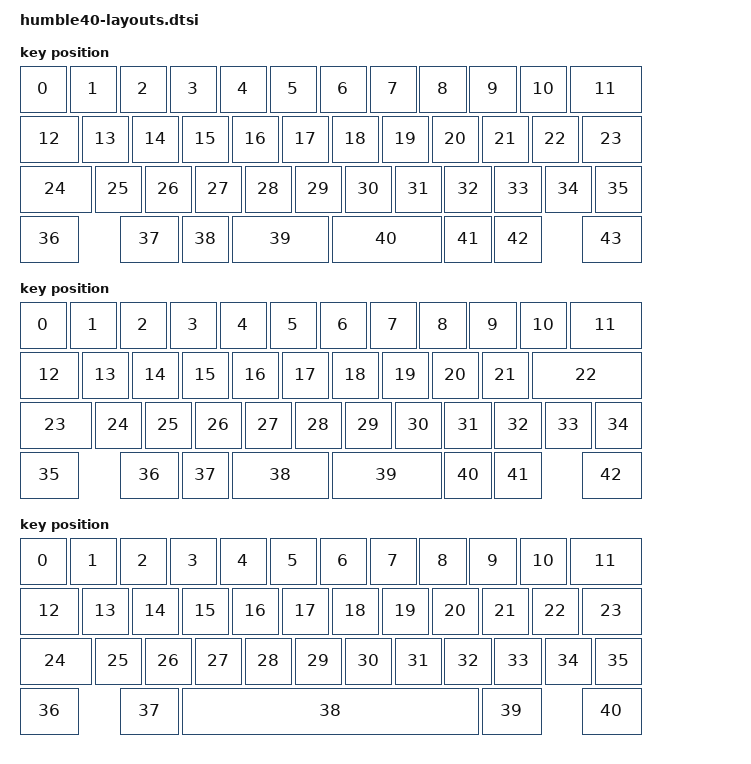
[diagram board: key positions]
/*
 * Copyright (c) 2024 The ZMK Contributors
 *
 * SPDX-License-Identifier: MIT
 */

#include <physical_layouts.dtsi>

/ {

    uniform_layout: uniform_layout {
        compatible = "zmk,physical-layout";
        display-name = "Uniform";

        transform = <&uniform_transform>;

        keys  //                     w   h    x    y     rot    rx    ry
            = <&key_physical_attrs 100 100    0    0       0     0     0>
            , <&key_physical_attrs 100 100  100    0       0     0     0>
            , <&key_physical_attrs 100 100  200    0       0     0     0>
            , <&key_physical_attrs 100 100  300    0       0     0     0>
            , <&key_physical_attrs 100 100  400    0       0     0     0>
            , <&key_physical_attrs 100 100  500    0       0     0     0>
            , <&key_physical_attrs 100 100  600    0       0     0     0>
            , <&key_physical_attrs 100 100  700    0       0     0     0>
            , <&key_physical_attrs 100 100  800    0       0     0     0>
            , <&key_physical_attrs 100 100  900    0       0     0     0>
            , <&key_physical_attrs 100 100 1000    0       0     0     0>
            , <&key_physical_attrs 150 100 1100    0       0     0     0>
            , <&key_physical_attrs 125 100    0  100       0     0     0>
            , <&key_physical_attrs 100 100  125  100       0     0     0>
            , <&key_physical_attrs 100 100  225  100       0     0     0>
            , <&key_physical_attrs 100 100  325  100       0     0     0>
            , <&key_physical_attrs 100 100  425  100       0     0     0>
            , <&key_physical_attrs 100 100  525  100       0     0     0>
            , <&key_physical_attrs 100 100  625  100       0     0     0>
            , <&key_physical_attrs 100 100  725  100       0     0     0>
            , <&key_physical_attrs 100 100  825  100       0     0     0>
            , <&key_physical_attrs 100 100  925  100       0     0     0>
            , <&key_physical_attrs 100 100 1025  100       0     0     0>
            , <&key_physical_attrs 125 100 1125  100       0     0     0>
            , <&key_physical_attrs 150 100    0  200       0     0     0>
            , <&key_physical_attrs 100 100  150  200       0     0     0>
            , <&key_physical_attrs 100 100  250  200       0     0     0>
            , <&key_physical_attrs 100 100  350  200       0     0     0>
            , <&key_physical_attrs 100 100  450  200       0     0     0>
            , <&key_physical_attrs 100 100  550  200       0     0     0>
            , <&key_physical_attrs 100 100  650  200       0     0     0>
            , <&key_physical_attrs 100 100  750  200       0     0     0>
            , <&key_physical_attrs 100 100  850  200       0     0     0>
            , <&key_physical_attrs 100 100  950  200       0     0     0>
            , <&key_physical_attrs 100 100 1050  200       0     0     0>
            , <&key_physical_attrs 100 100 1150  200       0     0     0>
            , <&key_physical_attrs 125 100    0  300       0     0     0>
            , <&key_physical_attrs 125 100  200  300       0     0     0>
            , <&key_physical_attrs 100 100  325  300       0     0     0>
            , <&key_physical_attrs 200 100  425  300       0     0     0>
            , <&key_physical_attrs 225 100  625  300       0     0     0>
            , <&key_physical_attrs 100 100  850  300       0     0     0>
            , <&key_physical_attrs 100 100  950  300       0     0     0>
            , <&key_physical_attrs 125 100 1125  300       0     0     0>
            ;
    };

    big_enter_layout: big_enter_layout {
        compatible = "zmk,physical-layout";
        display-name = "Uniform - Big Enter";

        transform = <&big_enter_transform>;

        keys  //                     w   h    x    y     rot    rx    ry
            = <&key_physical_attrs 100 100    0    0       0     0     0>
            , <&key_physical_attrs 100 100  100    0       0     0     0>
            , <&key_physical_attrs 100 100  200    0       0     0     0>
            , <&key_physical_attrs 100 100  300    0       0     0     0>
            , <&key_physical_attrs 100 100  400    0       0     0     0>
            , <&key_physical_attrs 100 100  500    0       0     0     0>
            , <&key_physical_attrs 100 100  600    0       0     0     0>
            , <&key_physical_attrs 100 100  700    0       0     0     0>
            , <&key_physical_attrs 100 100  800    0       0     0     0>
            , <&key_physical_attrs 100 100  900    0       0     0     0>
            , <&key_physical_attrs 100 100 1000    0       0     0     0>
            , <&key_physical_attrs 150 100 1100    0       0     0     0>
            , <&key_physical_attrs 125 100    0  100       0     0     0>
            , <&key_physical_attrs 100 100  125  100       0     0     0>
            , <&key_physical_attrs 100 100  225  100       0     0     0>
            , <&key_physical_attrs 100 100  325  100       0     0     0>
            , <&key_physical_attrs 100 100  425  100       0     0     0>
            , <&key_physical_attrs 100 100  525  100       0     0     0>
            , <&key_physical_attrs 100 100  625  100       0     0     0>
            , <&key_physical_attrs 100 100  725  100       0     0     0>
            , <&key_physical_attrs 100 100  825  100       0     0     0>
            , <&key_physical_attrs 100 100  925  100       0     0     0>
            , <&key_physical_attrs 225 100 1025  100       0     0     0>
            , <&key_physical_attrs 150 100    0  200       0     0     0>
            , <&key_physical_attrs 100 100  150  200       0     0     0>
            , <&key_physical_attrs 100 100  250  200       0     0     0>
            , <&key_physical_attrs 100 100  350  200       0     0     0>
            , <&key_physical_attrs 100 100  450  200       0     0     0>
            , <&key_physical_attrs 100 100  550  200       0     0     0>
            , <&key_physical_attrs 100 100  650  200       0     0     0>
            , <&key_physical_attrs 100 100  750  200       0     0     0>
            , <&key_physical_attrs 100 100  850  200       0     0     0>
            , <&key_physical_attrs 100 100  950  200       0     0     0>
            , <&key_physical_attrs 100 100 1050  200       0     0     0>
            , <&key_physical_attrs 100 100 1150  200       0     0     0>
            , <&key_physical_attrs 125 100    0  300       0     0     0>
            , <&key_physical_attrs 125 100  200  300       0     0     0>
            , <&key_physical_attrs 100 100  325  300       0     0     0>
            , <&key_physical_attrs 200 100  425  300       0     0     0>
            , <&key_physical_attrs 225 100  625  300       0     0     0>
            , <&key_physical_attrs 100 100  850  300       0     0     0>
            , <&key_physical_attrs 100 100  950  300       0     0     0>
            , <&key_physical_attrs 125 100 1125  300       0     0     0>
            ;
    };

    big_bar_layout: big_bar_layout {
        compatible = "zmk,physical-layout";
        display-name = "Uniform - Big Bar";

        transform = <&big_bar_transform>;

        keys  //                     w   h    x    y     rot    rx    ry
            = <&key_physical_attrs 100 100    0    0       0     0     0>
            , <&key_physical_attrs 100 100  100    0       0     0     0>
            , <&key_physical_attrs 100 100  200    0       0     0     0>
            , <&key_physical_attrs 100 100  300    0       0     0     0>
            , <&key_physical_attrs 100 100  400    0       0     0     0>
            , <&key_physical_attrs 100 100  500    0       0     0     0>
            , <&key_physical_attrs 100 100  600    0       0     0     0>
            , <&key_physical_attrs 100 100  700    0       0     0     0>
            , <&key_physical_attrs 100 100  800    0       0     0     0>
            , <&key_physical_attrs 100 100  900    0       0     0     0>
            , <&key_physical_attrs 100 100 1000    0       0     0     0>
            , <&key_physical_attrs 150 100 1100    0       0     0     0>
            , <&key_physical_attrs 125 100    0  100       0     0     0>
            , <&key_physical_attrs 100 100  125  100       0     0     0>
            , <&key_physical_attrs 100 100  225  100       0     0     0>
            , <&key_physical_attrs 100 100  325  100       0     0     0>
            , <&key_physical_attrs 100 100  425  100       0     0     0>
            , <&key_physical_attrs 100 100  525  100       0     0     0>
            , <&key_physical_attrs 100 100  625  100       0     0     0>
            , <&key_physical_attrs 100 100  725  100       0     0     0>
            , <&key_physical_attrs 100 100  825  100       0     0     0>
            , <&key_physical_attrs 100 100  925  100       0     0     0>
            , <&key_physical_attrs 100 100 1025  100       0     0     0>
            , <&key_physical_attrs 125 100 1125  100       0     0     0>
            , <&key_physical_attrs 150 100    0  200       0     0     0>
            , <&key_physical_attrs 100 100  150  200       0     0     0>
            , <&key_physical_attrs 100 100  250  200       0     0     0>
            , <&key_physical_attrs 100 100  350  200       0     0     0>
            , <&key_physical_attrs 100 100  450  200       0     0     0>
            , <&key_physical_attrs 100 100  550  200       0     0     0>
            , <&key_physical_attrs 100 100  650  200       0     0     0>
            , <&key_physical_attrs 100 100  750  200       0     0     0>
            , <&key_physical_attrs 100 100  850  200       0     0     0>
            , <&key_physical_attrs 100 100  950  200       0     0     0>
            , <&key_physical_attrs 100 100 1050  200       0     0     0>
            , <&key_physical_attrs 100 100 1150  200       0     0     0>
            , <&key_physical_attrs 125 100    0  300       0     0     0>
            , <&key_physical_attrs 125 100  200  300       0     0     0>
            , <&key_physical_attrs 600 100  325  300       0     0     0>
            , <&key_physical_attrs 125 100  925  300       0     0     0>
            , <&key_physical_attrs 125 100 1125  300       0     0     0>
            ;
    };

    big_enter_big_bar_layout: big_enter_big_bar_layout {
        compatible = "zmk,physical-layout";
        display-name = "Uniform - Big Enter / Big Bar";

        transform = <&big_enter_big_bar_transform>;

        keys  //                     w   h    x    y     rot    rx    ry
            = <&key_physical_attrs 100 100    0    0       0     0     0>
            , <&key_physical_attrs 100 100  100    0       0     0     0>
            , <&key_physical_attrs 100 100  200    0       0     0     0>
            , <&key_physical_attrs 100 100  300    0       0     0     0>
            , <&key_physical_attrs 100 100  400    0       0     0     0>
            , <&key_physical_attrs 100 100  500    0       0     0     0>
            , <&key_physical_attrs 100 100  600    0       0     0     0>
            , <&key_physical_attrs 100 100  700    0       0     0     0>
            , <&key_physical_attrs 100 100  800    0       0     0     0>
            , <&key_physical_attrs 100 100  900    0       0     0     0>
            , <&key_physical_attrs 100 100 1000    0       0     0     0>
            , <&key_physical_attrs 150 100 1100    0       0     0     0>
            , <&key_physical_attrs 125 100    0  100       0     0     0>
            , <&key_physical_attrs 100 100  125  100       0     0     0>
            , <&key_physical_attrs 100 100  225  100       0     0     0>
            , <&key_physical_attrs 100 100  325  100       0     0     0>
            , <&key_physical_attrs 100 100  425  100       0     0     0>
            , <&key_physical_attrs 100 100  525  100       0     0     0>
            , <&key_physical_attrs 100 100  625  100       0     0     0>
            , <&key_physical_attrs 100 100  725  100       0     0     0>
            , <&key_physical_attrs 100 100  825  100       0     0     0>
            , <&key_physical_attrs 100 100  925  100       0     0     0>
            , <&key_physical_attrs 225 100 1025  100       0     0     0>
            , <&key_physical_attrs 150 100    0  200       0     0     0>
            , <&key_physical_attrs 100 100  150  200       0     0     0>
            , <&key_physical_attrs 100 100  250  200       0     0     0>
            , <&key_physical_attrs 100 100  350  200       0     0     0>
            , <&key_physical_attrs 100 100  450  200       0     0     0>
            , <&key_physical_attrs 100 100  550  200       0     0     0>
            , <&key_physical_attrs 100 100  650  200       0     0     0>
            , <&key_physical_attrs 100 100  750  200       0     0     0>
            , <&key_physical_attrs 100 100  850  200       0     0     0>
            , <&key_physical_attrs 100 100  950  200       0     0     0>
            , <&key_physical_attrs 100 100 1050  200       0     0     0>
            , <&key_physical_attrs 100 100 1150  200       0     0     0>
            , <&key_physical_attrs 125 100    0  300       0     0     0>
            , <&key_physical_attrs 125 100  200  300       0     0     0>
            , <&key_physical_attrs 600 100  325  300       0     0     0>
            , <&key_physical_attrs 125 100  925  300       0     0     0>
            , <&key_physical_attrs 125 100 1125  300       0     0     0>
            ;
    };

    std_layout: std_layout {
        compatible = "zmk,physical-layout";
        display-name = "Standard";

        transform = <&std_transform>;

        keys  //                     w   h    x    y     rot    rx    ry
            = <&key_physical_attrs 100 100    0    0       0     0     0>
            , <&key_physical_attrs 100 100  100    0       0     0     0>
            , <&key_physical_attrs 100 100  200    0       0     0     0>
            , <&key_physical_attrs 100 100  300    0       0     0     0>
            , <&key_physical_attrs 100 100  400    0       0     0     0>
            , <&key_physical_attrs 100 100  500    0       0     0     0>
            , <&key_physical_attrs 100 100  600    0       0     0     0>
            , <&key_physical_attrs 100 100  700    0       0     0     0>
            , <&key_physical_attrs 100 100  800    0       0     0     0>
            , <&key_physical_attrs 100 100  900    0       0     0     0>
            , <&key_physical_attrs 100 100 1000    0       0     0     0>
            , <&key_physical_attrs 150 100 1100    0       0     0     0>
            , <&key_physical_attrs 125 100    0  100       0     0     0>
            , <&key_physical_attrs 100 100  125  100       0     0     0>
            , <&key_physical_attrs 100 100  225  100       0     0     0>
            , <&key_physical_attrs 100 100  325  100       0     0     0>
            , <&key_physical_attrs 100 100  425  100       0     0     0>
            , <&key_physical_attrs 100 100  525  100       0     0     0>
            , <&key_physical_attrs 100 100  625  100       0     0     0>
            , <&key_physical_attrs 100 100  725  100       0     0     0>
            , <&key_physical_attrs 100 100  825  100       0     0     0>
            , <&key_physical_attrs 100 100  925  100       0     0     0>
            , <&key_physical_attrs 100 100 1025  100       0     0     0>
            , <&key_physical_attrs 125 100 1125  100       0     0     0>
            , <&key_physical_attrs 175 100    0  200       0     0     0>
            , <&key_physical_attrs 100 100  175  200       0     0     0>
            , <&key_physical_attrs 100 100  275  200       0     0     0>
            , <&key_physical_attrs 100 100  375  200       0     0     0>
            , <&key_physical_attrs 100 100  475  200       0     0     0>
            , <&key_physical_attrs 100 100  575  200       0     0     0>
            , <&key_physical_attrs 100 100  675  200       0     0     0>
            , <&key_physical_attrs 100 100  775  200       0     0     0>
            , <&key_physical_attrs 100 100  875  200       0     0     0>
            , <&key_physical_attrs 100 100  975  200       0     0     0>
            , <&key_physical_attrs 175 100 1075  200       0     0     0>
            , <&key_physical_attrs 125 100    0  300       0     0     0>
            , <&key_physical_attrs 125 100  200  300       0     0     0>
            , <&key_physical_attrs 100 100  325  300       0     0     0>
            , <&key_physical_attrs 200 100  425  300       0     0     0>
            , <&key_physical_attrs 225 100  625  300       0     0     0>
            , <&key_physical_attrs 100 100  850  300       0     0     0>
            , <&key_physical_attrs 100 100  950  300       0     0     0>
            , <&key_physical_attrs 125 100 1125  300       0     0     0>
            ;
    };

    std_big_enter_layout: std_big_enter_layout {
        compatible = "zmk,physical-layout";
        display-name = "Standard - Big Enter";

        transform = <&std_big_enter_transform>;

        keys  //                     w   h    x    y     rot    rx    ry
            = <&key_physical_attrs 100 100    0    0       0     0     0>
            , <&key_physical_attrs 100 100  100    0       0     0     0>
            , <&key_physical_attrs 100 100  200    0       0     0     0>
            , <&key_physical_attrs 100 100  300    0       0     0     0>
            , <&key_physical_attrs 100 100  400    0       0     0     0>
            , <&key_physical_attrs 100 100  500    0       0     0     0>
            , <&key_physical_attrs 100 100  600    0       0     0     0>
            , <&key_physical_attrs 100 100  700    0       0     0     0>
            , <&key_physical_attrs 100 100  800    0       0     0     0>
            , <&key_physical_attrs 100 100  900    0       0     0     0>
            , <&key_physical_attrs 100 100 1000    0       0     0     0>
            , <&key_physical_attrs 150 100 1100    0       0     0     0>
            , <&key_physical_attrs 125 100    0  100       0     0     0>
            , <&key_physical_attrs 100 100  125  100       0     0     0>
            , <&key_physical_attrs 100 100  225  100       0     0     0>
            , <&key_physical_attrs 100 100  325  100       0     0     0>
            , <&key_physical_attrs 100 100  425  100       0     0     0>
            , <&key_physical_attrs 100 100  525  100       0     0     0>
            , <&key_physical_attrs 100 100  625  100       0     0     0>
            , <&key_physical_attrs 100 100  725  100       0     0     0>
            , <&key_physical_attrs 100 100  825  100       0     0     0>
            , <&key_physical_attrs 100 100  925  100       0     0     0>
            , <&key_physical_attrs 225 100 1025  100       0     0     0>
            , <&key_physical_attrs 175 100    0  200       0     0     0>
            , <&key_physical_attrs 100 100  175  200       0     0     0>
            , <&key_physical_attrs 100 100  275  200       0     0     0>
            , <&key_physical_attrs 100 100  375  200       0     0     0>
            , <&key_physical_attrs 100 100  475  200       0     0     0>
            , <&key_physical_attrs 100 100  575  200       0     0     0>
            , <&key_physical_attrs 100 100  675  200       0     0     0>
            , <&key_physical_attrs 100 100  775  200       0     0     0>
            , <&key_physical_attrs 100 100  875  200       0     0     0>
            , <&key_physical_attrs 100 100  975  200       0     0     0>
            , <&key_physical_attrs 175 100 1075  200       0     0     0>
            , <&key_physical_attrs 125 100    0  300       0     0     0>
            , <&key_physical_attrs 125 100  200  300       0     0     0>
            , <&key_physical_attrs 100 100  325  300       0     0     0>
            , <&key_physical_attrs 200 100  425  300       0     0     0>
            , <&key_physical_attrs 225 100  625  300       0     0     0>
            , <&key_physical_attrs 100 100  850  300       0     0     0>
            , <&key_physical_attrs 100 100  950  300       0     0     0>
            , <&key_physical_attrs 125 100 1125  300       0     0     0>
            ;
    };

    std_big_bar_layout: std_big_bar_layout {
        compatible = "zmk,physical-layout";
        display-name = "Standard - Big Bar";

        transform = <&std_big_bar_transform>;

        keys  //                     w   h    x    y     rot    rx    ry
            = <&key_physical_attrs 100 100    0    0       0     0     0>
            , <&key_physical_attrs 100 100  100    0       0     0     0>
            , <&key_physical_attrs 100 100  200    0       0     0     0>
            , <&key_physical_attrs 100 100  300    0       0     0     0>
            , <&key_physical_attrs 100 100  400    0       0     0     0>
            , <&key_physical_attrs 100 100  500    0       0     0     0>
            , <&key_physical_attrs 100 100  600    0       0     0     0>
            , <&key_physical_attrs 100 100  700    0       0     0     0>
            , <&key_physical_attrs 100 100  800    0       0     0     0>
            , <&key_physical_attrs 100 100  900    0       0     0     0>
            , <&key_physical_attrs 100 100 1000    0       0     0     0>
            , <&key_physical_attrs 150 100 1100    0       0     0     0>
            , <&key_physical_attrs 125 100    0  100       0     0     0>
            , <&key_physical_attrs 100 100  125  100       0     0     0>
            , <&key_physical_attrs 100 100  225  100       0     0     0>
            , <&key_physical_attrs 100 100  325  100       0     0     0>
            , <&key_physical_attrs 100 100  425  100       0     0     0>
            , <&key_physical_attrs 100 100  525  100       0     0     0>
            , <&key_physical_attrs 100 100  625  100       0     0     0>
            , <&key_physical_attrs 100 100  725  100       0     0     0>
            , <&key_physical_attrs 100 100  825  100       0     0     0>
            , <&key_physical_attrs 100 100  925  100       0     0     0>
            , <&key_physical_attrs 100 100 1025  100       0     0     0>
            , <&key_physical_attrs 125 100 1125  100       0     0     0>
            , <&key_physical_attrs 175 100    0  200       0     0     0>
            , <&key_physical_attrs 100 100  175  200       0     0     0>
            , <&key_physical_attrs 100 100  275  200       0     0     0>
            , <&key_physical_attrs 100 100  375  200       0     0     0>
            , <&key_physical_attrs 100 100  475  200       0     0     0>
            , <&key_physical_attrs 100 100  575  200       0     0     0>
            , <&key_physical_attrs 100 100  675  200       0     0     0>
            , <&key_physical_attrs 100 100  775  200       0     0     0>
            , <&key_physical_attrs 100 100  875  200       0     0     0>
            , <&key_physical_attrs 100 100  975  200       0     0     0>
            , <&key_physical_attrs 175 100 1075  200       0     0     0>
            , <&key_physical_attrs 125 100    0  300       0     0     0>
            , <&key_physical_attrs 125 100  200  300       0     0     0>
            , <&key_physical_attrs 600 100  325  300       0     0     0>
            , <&key_physical_attrs 125 100  925  300       0     0     0>
            , <&key_physical_attrs 125 100 1125  300       0     0     0>
            ;
    };

    std_big_enter_big_bar_layout: std_big_enter_big_bar_layout {
        compatible = "zmk,physical-layout";
        display-name = "Standard - Big Enter / Big Bar";

        transform = <&std_big_enter_big_bar_transform>;

        keys  //                     w   h    x    y     rot    rx    ry
            = <&key_physical_attrs 100 100    0    0       0     0     0>
            , <&key_physical_attrs 100 100  100    0       0     0     0>
            , <&key_physical_attrs 100 100  200    0       0     0     0>
            , <&key_physical_attrs 100 100  300    0       0     0     0>
            , <&key_physical_attrs 100 100  400    0       0     0     0>
            , <&key_physical_attrs 100 100  500    0       0     0     0>
            , <&key_physical_attrs 100 100  600    0       0     0     0>
            , <&key_physical_attrs 100 100  700    0       0     0     0>
            , <&key_physical_attrs 100 100  800    0       0     0     0>
            , <&key_physical_attrs 100 100  900    0       0     0     0>
            , <&key_physical_attrs 100 100 1000    0       0     0     0>
            , <&key_physical_attrs 150 100 1100    0       0     0     0>
            , <&key_physical_attrs 125 100    0  100       0     0     0>
            , <&key_physical_attrs 100 100  125  100       0     0     0>
            , <&key_physical_attrs 100 100  225  100       0     0     0>
            , <&key_physical_attrs 100 100  325  100       0     0     0>
            , <&key_physical_attrs 100 100  425  100       0     0     0>
            , <&key_physical_attrs 100 100  525  100       0     0     0>
            , <&key_physical_attrs 100 100  625  100       0     0     0>
            , <&key_physical_attrs 100 100  725  100       0     0     0>
            , <&key_physical_attrs 100 100  825  100       0     0     0>
            , <&key_physical_attrs 100 100  925  100       0     0     0>
            , <&key_physical_attrs 225 100 1025  100       0     0     0>
            , <&key_physical_attrs 175 100    0  200       0     0     0>
            , <&key_physical_attrs 100 100  175  200       0     0     0>
            , <&key_physical_attrs 100 100  275  200       0     0     0>
            , <&key_physical_attrs 100 100  375  200       0     0     0>
            , <&key_physical_attrs 100 100  475  200       0     0     0>
            , <&key_physical_attrs 100 100  575  200       0     0     0>
            , <&key_physical_attrs 100 100  675  200       0     0     0>
            , <&key_physical_attrs 100 100  775  200       0     0     0>
            , <&key_physical_attrs 100 100  875  200       0     0     0>
            , <&key_physical_attrs 100 100  975  200       0     0     0>
            , <&key_physical_attrs 175 100 1075  200       0     0     0>
            , <&key_physical_attrs 125 100    0  300       0     0     0>
            , <&key_physical_attrs 125 100  200  300       0     0     0>
            , <&key_physical_attrs 600 100  325  300       0     0     0>
            , <&key_physical_attrs 125 100  925  300       0     0     0>
            , <&key_physical_attrs 125 100 1125  300       0     0     0>
            ;
    };

    position_map {
        compatible = "zmk,physical-layout-position-map";

        uniform_map {
            physical-layout = <&uniform_layout>;
            positions = <22 23 34 35 38 39 40 41 42>;
        };

        big_enter_map {
            physical-layout = <&big_enter_layout>;
            positions = <43 22 33 34 37 38 39 40 41>;
        };

        big_bar_map {
            physical-layout = <&big_bar_layout>;
            positions = <22 23 34 35 41 38 42 43 39>;
        };

        big_enter_big_bar_map {
            physical-layout = <&big_enter_big_bar_layout>;
            positions = <40 22 33 34 41 37 42 43 38>;
        };

        std_map {
            physical-layout = <&std_layout>;
            positions = <22 23 43 34 37 38 39 40 41>;
        };

        std_big_enter_map {
            physical-layout = <&std_big_enter_layout>;
            positions = <42 22 43 33 36 37 38 39 40>;
        };

        std_big_bar_map {
            physical-layout = <&std_big_bar_layout>;
            positions = <22 23 40 34 41 37 42 43 38>;
        };

        std_big_enter_big_bar_map {
            physical-layout = <&std_big_enter_big_bar_layout>;
            positions = <39 22 40 33 41 36 42 43 37>;
        };
    };
};
